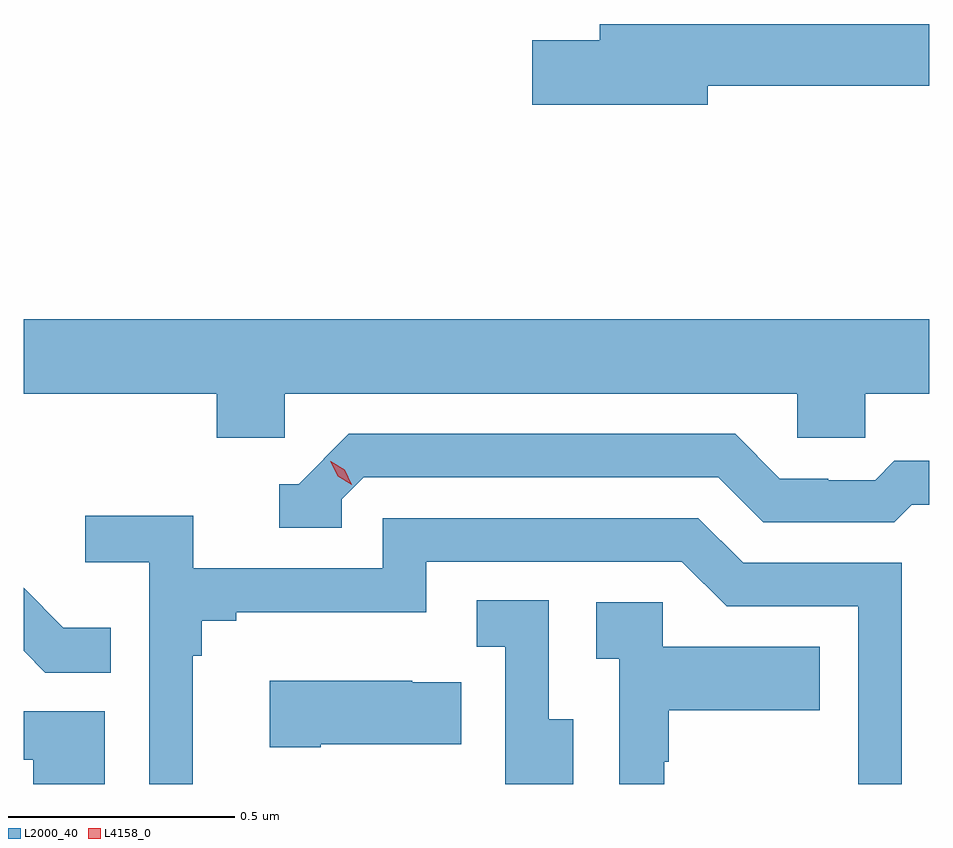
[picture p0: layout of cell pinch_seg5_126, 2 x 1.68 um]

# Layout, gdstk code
import gdstk
lib = gdstk.Library(unit=1e-6, precision=1e-09)
def P(c, l, *ps):  # polygons
    for p in ps: c.add(gdstk.Polygon(p, *l))
L2000_40 = (2000, 40)
L4158_0 = (4158, 0)

pinch_seg5_126 = lib.new_cell('pinch_seg5_126')
P(pinch_seg5_126, L2000_40, [(1074.592,882.748),(1075.081,882.748),(1075.081,882.884),(1074.353,882.884),(1074.353,882.848),(1074.204,882.848),(1074.204,882.706),(1074.592,882.706)],
  [(1073.658,882.068),(1074.789,882.068),(1074.789,881.97),(1074.939,881.97),(1074.939,882.068),(1075.081,882.068),(1075.081,882.232),(1073.081,882.232),(1073.081,882.068),(1073.507,882.068),(1073.507,881.97),(1073.658,881.97)],
  [(1073.784,881.835),(1073.832,881.883),(1074.615,881.883),(1074.714,881.784),(1075.003,881.784),(1075.042,881.823),(1075.081,881.823),(1075.081,881.92),(1075.003,881.92),(1074.961,881.877),(1074.858,881.877),(1074.858,881.88),(1074.751,881.88),(1074.652,881.979),(1073.799,881.979),(1073.688,881.868),(1073.645,881.868),(1073.645,881.772),(1073.784,881.772)],
  [(1073.455,881.489),(1073.474,881.489),(1073.474,881.566),(1073.551,881.566),(1073.551,881.585),(1073.97,881.585),(1073.97,881.697),(1074.534,881.697),(1074.633,881.598),(1074.924,881.598),(1074.924,881.206),(1075.02,881.206),(1075.02,881.694),(1074.67,881.694),(1074.571,881.793),(1073.874,881.793),(1073.874,881.682),(1073.456,881.682),(1073.456,881.798),(1073.217,881.798),(1073.217,881.696),(1073.358,881.696),(1073.358,881.206),(1073.455,881.206)],
  [(1073.273,881.551),(1073.169,881.551),(1073.081,881.639),(1073.081,881.5),(1073.129,881.452),(1073.273,881.452)],
  [(1074.295,881.349),(1074.24,881.349),(1074.24,881.612),(1074.081,881.612),(1074.081,881.509),(1074.144,881.509),(1074.144,881.206),(1074.295,881.206)],
  [(1074.495,881.255),(1074.505,881.255),(1074.505,881.369),(1074.839,881.369),(1074.839,881.509),(1074.492,881.509),(1074.492,881.607),(1074.345,881.607),(1074.345,881.483),(1074.396,881.483),(1074.396,881.206),(1074.495,881.206)],
  [(1073.737,881.294),(1074.047,881.294),(1074.047,881.431),(1073.939,881.431),(1073.939,881.434),(1073.625,881.434),(1073.625,881.287),(1073.737,881.287)],
  [(1073.26,881.367),(1073.081,881.367),(1073.081,881.259),(1073.102,881.259),(1073.102,881.206),(1073.26,881.206)])
P(pinch_seg5_126, L4158_0, [(1073.806,881.867),(1073.775,881.886),(1073.758,881.919),(1073.758,881.919),(1073.759,881.919),(1073.79,881.9),(1073.806,881.867),(1073.806,881.867)])

lib.write_gds('pinch_seg5_126.gds')
